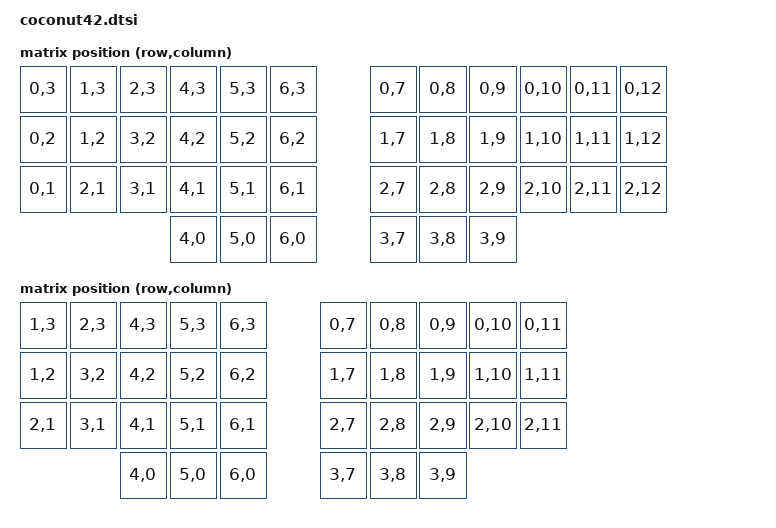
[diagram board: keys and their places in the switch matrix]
/*
 * Copyright (c) 2024 Satoru NAKAYA
 *
 * SPDX-License-Identifier: MIT
 */

#include <dt-bindings/zmk/matrix_transform.h>

#include "layouts/6column.dtsi"
#include "layouts/5column.dtsi"

&coconut42_6col_layout {
    transform = <&default_transform>;
};

&coconut42_5col_layout {
    transform = <&five_column_transform>;
};

/ {
    chosen {
        zephyr,display = &oled;
        zmk,kscan = &kscan0;
        zmk,physical-layout = &coconut42_6col_layout;
    };

    default_transform: keymap_transform_0 {
        compatible = "zmk,matrix-transform";
        columns = <13>;
        rows = <7>;
        map = <
            RC(0,3) RC(1,3) RC(2,3) RC(4,3) RC(5,3) RC(6,3)   RC(0,7) RC(0,8) RC(0,9) RC(0,10) RC(0,11) RC(0,12)
            RC(0,2) RC(1,2) RC(3,2) RC(4,2) RC(5,2) RC(6,2)   RC(1,7) RC(1,8) RC(1,9) RC(1,10) RC(1,11) RC(1,12)
            RC(0,1) RC(2,1) RC(3,1) RC(4,1) RC(5,1) RC(6,1)   RC(2,7) RC(2,8) RC(2,9) RC(2,10) RC(2,11) RC(2,12)
                                    RC(4,0) RC(5,0) RC(6,0)   RC(3,7) RC(3,8) RC(3,9)
        >;
    };

    five_column_transform: keymap_transform_1 {
        compatible = "zmk,matrix-transform";
        columns = <13>;
        rows = <7>;
        map = <
            RC(1,3) RC(2,3) RC(4,3) RC(5,3) RC(6,3)   RC(0,7) RC(0,8) RC(0,9) RC(0,10) RC(0,11)
            RC(1,2) RC(3,2) RC(4,2) RC(5,2) RC(6,2)   RC(1,7) RC(1,8) RC(1,9) RC(1,10) RC(1,11)
            RC(2,1) RC(3,1) RC(4,1) RC(5,1) RC(6,1)   RC(2,7) RC(2,8) RC(2,9) RC(2,10) RC(2,11)
                            RC(4,0) RC(5,0) RC(6,0)   RC(3,7) RC(3,8) RC(3,9)
        >;
    };

    kscan0: kscan {
    };

    // TODO: per-key RGB node(s)?
};

&xiao_spi { status = "disabled"; };
&xiao_i2c { status = "disabled"; };
&xiao_serial { status = "disabled"; };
